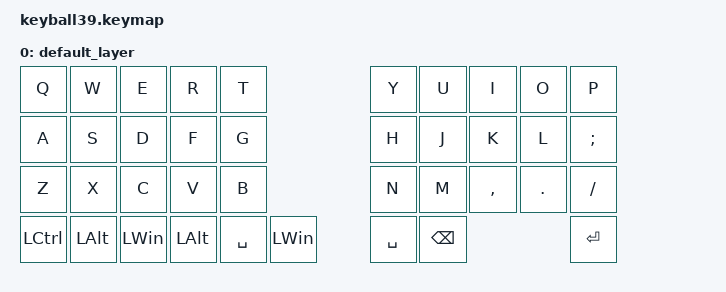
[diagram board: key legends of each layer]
#include <behaviors.dtsi>
#include <behaviors/mouse_keys.dtsi>
#include <dt-bindings/zmk/keys.h>
#include <dt-bindings/zmk/bt.h>
#include <dt-bindings/zmk/outputs.h>

#define DEFAULT 0
#define MAC     1
#define LOWER   2
#define RAISE   3
#define ADJUST  4

&sl {
    release-after-ms = <5000>;
};

&kscan0 {
    debounce-press-ms = <30>;
    debounce-release-ms = <30>;
};

/ {

    keymap {
        compatible = "zmk,keymap";

        default_layer {
            bindings = < 
&kp Q     &kp W    &kp E     &kp R     &kp T                                              &kp Y     &kp U     &kp I     &kp O     &kp P
&kp A     &kp S    &kp D     &kp F     &kp G                                              &kp H     &kp J     &kp K     &kp L     &kp SEMI
&kp Z     &kp X    &kp C     &kp V     &kp B                                              &kp N     &kp M     &kp COMMA &kp DOT   &kp FSLH
&kp LCTRL  &kp LALT &kp LWIN      &kp LALT    &kp SPACE   &kp LWIN                  &kp SPACE     &kp BSPC                        &kp ENTER
            >;
        };
    };
};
